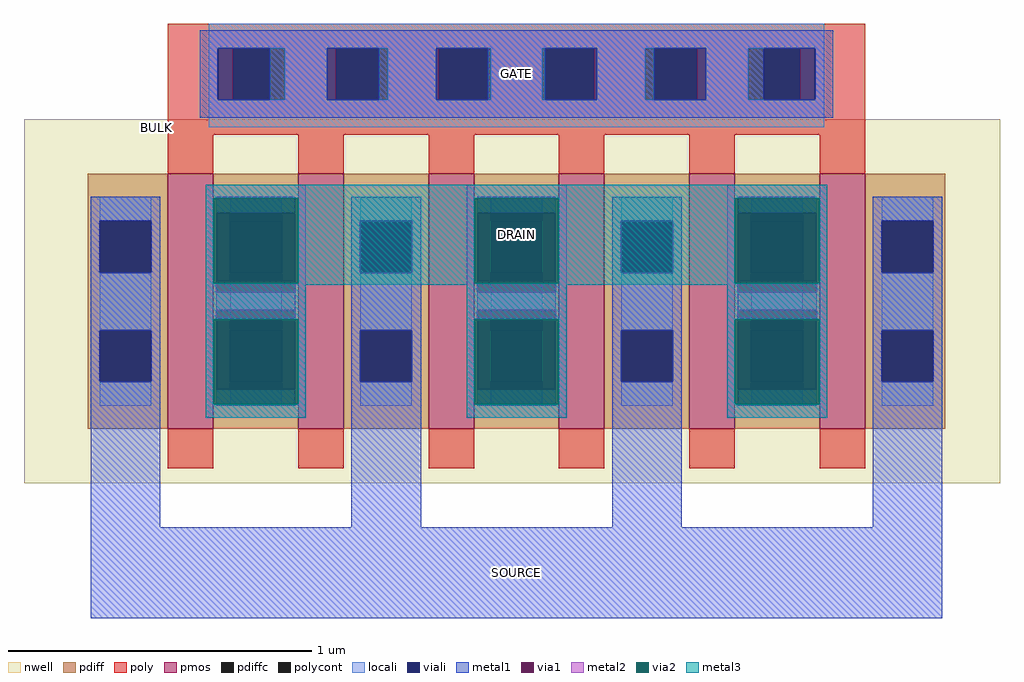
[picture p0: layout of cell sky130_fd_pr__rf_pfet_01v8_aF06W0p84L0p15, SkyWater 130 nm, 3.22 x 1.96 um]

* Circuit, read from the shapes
.subckt sky130_fd_pr__rf_pfet_01v8_aF06W0p84L0p15 DRAIN SOURCE GATE BULK
XM1 DRAIN GATE SOURCE BULK sky130_fd_pr__pfet_01v8 w=0.84 l=0.15 m=6
.ends

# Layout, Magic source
magic
tech sky130A
magscale 1 2
<< nwell >>
rect 0 0 644 240
<< pmos >>
rect 95 36 125 204
rect 181 36 211 204
rect 267 36 297 204
rect 353 36 383 204
rect 439 36 469 204
rect 525 36 555 204
<< pdiff >>
rect 42 173 95 204
rect 42 139 50 173
rect 84 139 95 173
rect 42 101 95 139
rect 42 67 50 101
rect 84 67 95 101
rect 42 36 95 67
rect 125 173 181 204
rect 125 139 136 173
rect 170 139 181 173
rect 125 101 181 139
rect 125 67 136 101
rect 170 67 181 101
rect 125 36 181 67
rect 211 173 267 204
rect 211 139 222 173
rect 256 139 267 173
rect 211 101 267 139
rect 211 67 222 101
rect 256 67 267 101
rect 211 36 267 67
rect 297 173 353 204
rect 297 139 308 173
rect 342 139 353 173
rect 297 101 353 139
rect 297 67 308 101
rect 342 67 353 101
rect 297 36 353 67
rect 383 173 439 204
rect 383 139 394 173
rect 428 139 439 173
rect 383 101 439 139
rect 383 67 394 101
rect 428 67 439 101
rect 383 36 439 67
rect 469 173 525 204
rect 469 139 480 173
rect 514 139 525 173
rect 469 101 525 139
rect 469 67 480 101
rect 514 67 525 101
rect 469 36 525 67
rect 555 173 608 204
rect 555 139 566 173
rect 600 139 608 173
rect 555 101 608 139
rect 555 67 566 101
rect 600 67 608 101
rect 555 36 608 67
<< pdiffc >>
rect 50 139 84 173
rect 50 67 84 101
rect 136 139 170 173
rect 136 67 170 101
rect 222 139 256 173
rect 222 67 256 101
rect 308 139 342 173
rect 308 67 342 101
rect 394 139 428 173
rect 394 67 428 101
rect 480 139 514 173
rect 480 67 514 101
rect 566 139 600 173
rect 566 67 600 101
<< poly >>
rect 95 287 555 303
rect 95 253 138 287
rect 172 253 206 287
rect 240 253 274 287
rect 308 253 342 287
rect 376 253 410 287
rect 444 253 478 287
rect 512 253 555 287
rect 95 230 555 253
rect 95 204 125 230
rect 181 204 211 230
rect 267 204 297 230
rect 353 204 383 230
rect 439 204 469 230
rect 525 204 555 230
rect 95 10 125 36
rect 181 10 211 36
rect 267 10 297 36
rect 353 10 383 36
rect 439 10 469 36
rect 525 10 555 36
<< polycont >>
rect 138 253 172 287
rect 206 253 240 287
rect 274 253 308 287
rect 342 253 376 287
rect 410 253 444 287
rect 478 253 512 287
<< locali >>
rect 122 287 528 303
rect 122 253 128 287
rect 172 253 200 287
rect 240 253 272 287
rect 308 253 342 287
rect 378 253 410 287
rect 450 253 478 287
rect 522 253 528 287
rect 122 235 528 253
rect 50 173 84 189
rect 50 101 84 139
rect 50 51 84 67
rect 136 173 170 189
rect 136 101 170 139
rect 136 51 170 67
rect 222 173 256 189
rect 222 101 256 139
rect 222 51 256 67
rect 308 173 342 189
rect 308 101 342 139
rect 308 51 342 67
rect 394 173 428 189
rect 394 101 428 139
rect 394 51 428 67
rect 480 173 514 189
rect 480 101 514 139
rect 480 51 514 67
rect 566 173 600 189
rect 566 101 600 139
rect 566 51 600 67
<< viali >>
rect 128 253 138 287
rect 138 253 162 287
rect 200 253 206 287
rect 206 253 234 287
rect 272 253 274 287
rect 274 253 306 287
rect 344 253 376 287
rect 376 253 378 287
rect 416 253 444 287
rect 444 253 450 287
rect 488 253 512 287
rect 512 253 522 287
rect 50 139 84 173
rect 50 67 84 101
rect 136 139 170 173
rect 136 67 170 101
rect 222 139 256 173
rect 222 67 256 101
rect 308 139 342 173
rect 308 67 342 101
rect 394 139 428 173
rect 394 67 428 101
rect 480 139 514 173
rect 480 67 514 101
rect 566 139 600 173
rect 566 67 600 101
<< metal1 >>
rect 116 287 534 299
rect 116 253 128 287
rect 162 253 200 287
rect 234 253 272 287
rect 306 253 344 287
rect 378 253 416 287
rect 450 253 488 287
rect 522 253 534 287
rect 116 241 534 253
rect 44 173 90 189
rect 44 139 50 173
rect 84 139 90 173
rect 44 101 90 139
rect 44 67 50 101
rect 84 67 90 101
rect 44 -29 90 67
rect 127 178 179 189
rect 127 114 179 126
rect 127 51 179 62
rect 216 173 262 189
rect 216 139 222 173
rect 256 139 262 173
rect 216 101 262 139
rect 216 67 222 101
rect 256 67 262 101
rect 216 -29 262 67
rect 299 178 351 189
rect 299 114 351 126
rect 299 51 351 62
rect 388 173 434 189
rect 388 139 394 173
rect 428 139 434 173
rect 388 101 434 139
rect 388 67 394 101
rect 428 67 434 101
rect 388 -29 434 67
rect 471 178 523 189
rect 471 114 523 126
rect 471 51 523 62
rect 560 173 606 189
rect 560 139 566 173
rect 600 139 606 173
rect 560 101 606 139
rect 560 67 566 101
rect 600 67 606 101
rect 560 -29 606 67
rect 44 -89 606 -29
<< via1 >>
rect 127 173 179 178
rect 127 139 136 173
rect 136 139 170 173
rect 170 139 179 173
rect 127 126 179 139
rect 127 101 179 114
rect 127 67 136 101
rect 136 67 170 101
rect 170 67 179 101
rect 127 62 179 67
rect 299 173 351 178
rect 299 139 308 173
rect 308 139 342 173
rect 342 139 351 173
rect 299 126 351 139
rect 299 101 351 114
rect 299 67 308 101
rect 308 67 342 101
rect 342 67 351 101
rect 299 62 351 67
rect 471 173 523 178
rect 471 139 480 173
rect 480 139 514 173
rect 514 139 523 173
rect 471 126 523 139
rect 471 101 523 114
rect 471 67 480 101
rect 480 67 514 101
rect 514 67 523 101
rect 471 62 523 67
<< metal2 >>
rect 120 188 186 197
rect 120 132 125 188
rect 181 132 186 188
rect 120 126 127 132
rect 179 126 186 132
rect 120 114 186 126
rect 120 108 127 114
rect 179 108 186 114
rect 120 52 125 108
rect 181 52 186 108
rect 120 43 186 52
rect 292 188 358 197
rect 292 132 297 188
rect 353 132 358 188
rect 292 126 299 132
rect 351 126 358 132
rect 292 114 358 126
rect 292 108 299 114
rect 351 108 358 114
rect 292 52 297 108
rect 353 52 358 108
rect 292 43 358 52
rect 464 188 530 197
rect 464 132 469 188
rect 525 132 530 188
rect 464 126 471 132
rect 523 126 530 132
rect 464 114 530 126
rect 464 108 471 114
rect 523 108 530 114
rect 464 52 469 108
rect 525 52 530 108
rect 464 43 530 52
<< via2 >>
rect 125 178 181 188
rect 125 132 127 178
rect 127 132 179 178
rect 179 132 181 178
rect 125 62 127 108
rect 127 62 179 108
rect 179 62 181 108
rect 125 52 181 62
rect 297 178 353 188
rect 297 132 299 178
rect 299 132 351 178
rect 351 132 353 178
rect 297 62 299 108
rect 299 62 351 108
rect 351 62 353 108
rect 297 52 353 62
rect 469 178 525 188
rect 469 132 471 178
rect 471 132 523 178
rect 523 132 525 178
rect 469 62 471 108
rect 471 62 523 108
rect 523 62 525 108
rect 469 52 525 62
<< metal3 >>
rect 120 188 530 197
rect 120 132 125 188
rect 181 132 297 188
rect 353 132 469 188
rect 525 132 530 188
rect 120 131 530 132
rect 120 108 186 131
rect 120 52 125 108
rect 181 52 186 108
rect 120 43 186 52
rect 292 108 358 131
rect 292 52 297 108
rect 353 52 358 108
rect 292 43 358 52
rect 464 108 530 131
rect 464 52 469 108
rect 525 52 530 108
rect 464 43 530 52
<< labels >>
flabel metal3 s 120 131 530 197 0 FreeSans 400 0 0 0 DRAIN
port 1 nsew
flabel metal1 s 44 -89 606 -29 0 FreeSans 400 0 0 0 SOURCE
port 2 nsew
flabel metal1 s 116 241 534 299 0 FreeSans 400 0 0 0 GATE
port 3 nsew
flabel nwell s 84 232 91 238 0 FreeSans 400 0 0 0 BULK
port 4 nsew
<< properties >>
string GDS_FILE $PDKPATH/libs.ref/sky130_fd_pr/gds/sky130_fd_pr.gds
string GDS_END 9196312
string GDS_START 9186848
string path 1.675 4.725 1.675 -2.225 
<< end >>
